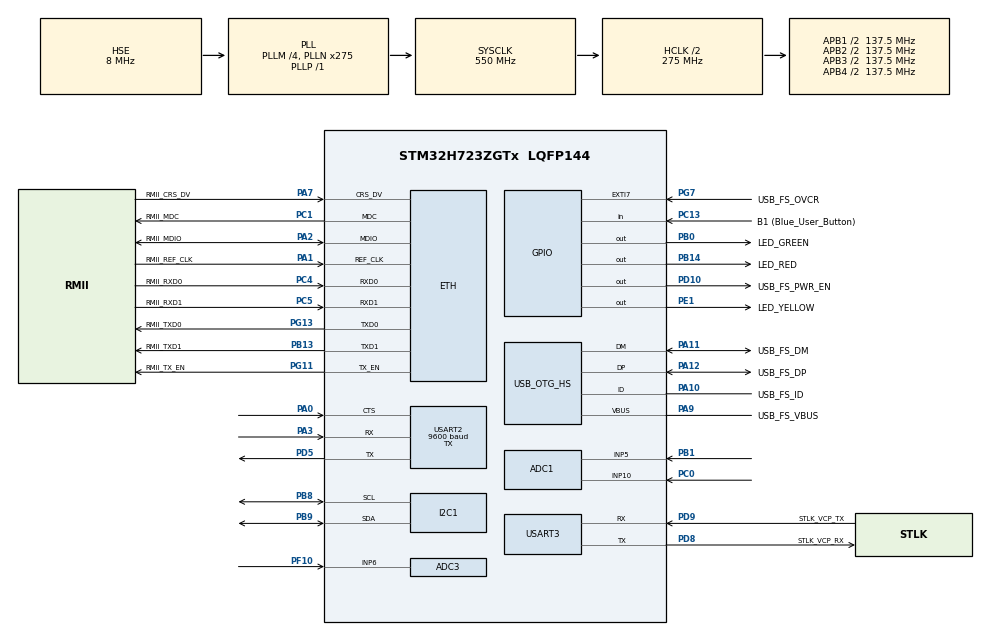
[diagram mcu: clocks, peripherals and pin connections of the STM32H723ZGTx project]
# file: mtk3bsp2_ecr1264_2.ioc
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ADC1.Channel-0\#ChannelRegularConversion=ADC_CHANNEL_5
ADC1.NbrOfConversionFlag=1
ADC1.OffsetNumber-0\#ChannelRegularConversion=ADC_OFFSET_NONE
ADC1.OffsetSignedSaturation-0\#ChannelRegularConversion=DISABLE
ADC1.Rank-0\#ChannelRegularConversion=1
ADC1.SamplingTime-0\#ChannelRegularConversion=ADC_SAMPLETIME_1CYCLE_5
ADC1.master=1
ADC3.Channel-0\#ChannelRegularConversion=ADC_CHANNEL_6
ADC3.NbrOfConversionFlag=1
ADC3.OffsetNumber-0\#ChannelRegularConversion=ADC_OFFSET_NONE
ADC3.OffsetSign-0\#ChannelRegularConversion=ADC3_OFFSET_SIGN_NEGATIVE
ADC3.Rank-0\#ChannelRegularConversion=1
ADC3.SamplingTime-0\#ChannelRegularConversion=ADC3_SAMPLETIME_2CYCLES_5
ETH.MediaInterface=HAL_ETH_RMII_MODE
I2C1.Timing=0x60404E72
Mcu.Family=STM32H7
Mcu.Name=STM32H723ZGTx
Mcu.Package=LQFP144
NVIC.ADC3_IRQn=true\:10\:0\:true\:false\:true\:true\:true\:true
NVIC.ADC_IRQn=true\:10\:0\:true\:false\:true\:true\:true\:true
NVIC.I2C1_ER_IRQn=true\:10\:0\:true\:false\:true\:true\:true\:true
NVIC.I2C1_EV_IRQn=true\:10\:0\:true\:false\:true\:true\:true\:true
NVIC.PriorityGroup=NVIC_PRIORITYGROUP_4
PA0.Mode=CTS_Only
PA0.Signal=USART2_CTS
PA1.GPIO_Label=RMII_REF_CLK
PA1.Mode=RMII
PA1.Signal=ETH_REF_CLK
PA10.GPIO_Label=USB_FS_ID
PA10.Mode=OTG/Dual-Role-Device-FS
PA10.Signal=USB_OTG_HS_ID
PA11.GPIO_Label=USB_FS_DM
PA11.Mode=OTG/Dual-Role-Device-FS
PA11.Signal=USB_OTG_HS_DM
PA12.GPIO_Label=USB_FS_DP
PA12.Mode=OTG/Dual-Role-Device-FS
PA12.Signal=USB_OTG_HS_DP
PA13(JTMS/SWDIO).GPIO_Label=SWDIO
PA13(JTMS/SWDIO).Mode=Trace_Asynchronous_SW
PA13(JTMS/SWDIO).Signal=DEBUG_JTMS-SWDIO
PA14(JTCK/SWCLK).GPIO_Label=SWCLK
PA14(JTCK/SWCLK).Mode=Trace_Asynchronous_SW
PA14(JTCK/SWCLK).Signal=DEBUG_JTCK-SWCLK
PA2.GPIO_Label=RMII_MDIO
PA2.Mode=RMII
PA2.Signal=ETH_MDIO
PA3.Mode=Asynchronous
PA3.Signal=USART2_RX
PA7.GPIO_Label=RMII_CRS_DV
PA7.Mode=RMII
PA7.Signal=ETH_CRS_DV
PA9.GPIO_Label=USB_FS_VBUS
PA9.Mode=Activate_VBUS_FS
PA9.Signal=USB_OTG_HS_VBUS
PB0.GPIO_Label=LED_GREEN
PB0.Signal=GPIO_Output
PB1.Signal=ADCx_INP5
PB13.GPIO_Label=RMII_TXD1
PB13.Mode=RMII
PB13.Signal=ETH_TXD1
PB14.GPIO_Label=LED_RED
PB14.Signal=GPIO_Output
PB3(JTDO/TRACESWO).GPIO_Label=SWO
PB3(JTDO/TRACESWO).Mode=Trace_Asynchronous_SW
PB3(JTDO/TRACESWO).Signal=DEBUG_JTDO-SWO
PB8.Mode=I2C
PB8.Signal=I2C1_SCL
PB9.Mode=I2C
PB9.Signal=I2C1_SDA
PC0.Signal=ADCx_INP10
PC1.GPIO_Label=RMII_MDC
PC1.Mode=RMII
PC1.Signal=ETH_MDC
PC13.GPIO_Label=B1 (Blue_User_Button)
PC13.Signal=GPIO_Input
PC14-OSC32_IN.Mode=LSE-External-Oscillator
PC14-OSC32_IN.Signal=RCC_OSC32_IN
PC15-OSC32_OUT.Mode=LSE-External-Oscillator
PC15-OSC32_OUT.Signal=RCC_OSC32_OUT
PC4.GPIO_Label=RMII_RXD0
PC4.Mode=RMII
PC4.Signal=ETH_RXD0
PC5.GPIO_Label=RMII_RXD1
PC5.Mode=RMII
PC5.Signal=ETH_RXD1
PD10.GPIO_Label=USB_FS_PWR_EN
PD10.Signal=GPIO_Output
PD5.Mode=Asynchronous
PD5.Signal=USART2_TX
PD8.GPIO_Label=STLK_VCP_RX
PD8.Mode=Asynchronous
PD8.Signal=USART3_TX
PD9.GPIO_Label=STLK_VCP_TX
PD9.Mode=Asynchronous
PD9.Signal=USART3_RX
PE1.GPIO_Label=LED_YELLOW
PE1.Signal=GPIO_Output
PF10.Mode=IN6-Single-Ended
PF10.Signal=ADC3_INP6
PG11.GPIO_Label=RMII_TX_EN
PG11.Mode=RMII
PG11.Signal=ETH_TX_EN
PG13.GPIO_Label=RMII_TXD0
PG13.Mode=RMII
PG13.Signal=ETH_TXD0
PG7.GPIO_Label=USB_FS_OVCR
PG7.Signal=GPXTI7
PH0-OSC_IN.GPIO_Label=MCO
PH0-OSC_IN.Mode=HSE-External-Clock-Source
PH0-OSC_IN.Signal=RCC_OSC_IN
PH1-OSC_OUT.Signal=RCC_OSC_OUT
ProjectManager.HeapSize=0x200
ProjectManager.StackSize=0x400
ProjectManager.TargetToolchain=STM32CubeIDE
RCC.ADCFreq_Value=96000000
RCC.APB1Freq_Value=137500000
RCC.APB2Freq_Value=137500000
RCC.APB3Freq_Value=137500000
RCC.APB4Freq_Value=137500000
RCC.CortexFreq_Value=550000000
RCC.D1PPRE=RCC_APB3_DIV2
RCC.D2PPRE1=RCC_APB1_DIV2
RCC.D2PPRE2=RCC_APB2_DIV2
RCC.D3PPRE=RCC_APB4_DIV2
RCC.DIVM1=4
RCC.DIVM2=1
RCC.DIVN1=275
RCC.DIVN2=24
RCC.DIVP1=1
RCC.DIVQ1=4
RCC.HCLKFreq_Value=275000000
RCC.HPRE=RCC_HCLK_DIV2
RCC.HSE_VALUE=8000000
RCC.PLLFRACN=0
RCC.PLLSourceVirtual=RCC_PLLSOURCE_HSE
RCC.SYSCLKFreq_VALUE=550000000
RCC.SYSCLKSource=RCC_SYSCLKSOURCE_PLLCLK
RCC.USBCLockSelection=RCC_USBCLKSOURCE_HSI48
RCC.USBFreq_Value=48000000
SH.ADCx_INP10.0=ADC1_INP10,IN10-Single-Ended
SH.ADCx_INP5.0=ADC1_INP5,IN5-Single-Ended
USART2.BaudRate=9600
USART2.Mode=MODE_TX
USART2.VirtualMode-Asynchronous=VM_ASYNC
USART3.VirtualMode-Asynchronous=VM_ASYNC
board=NUCLEO-H723ZG

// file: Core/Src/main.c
/* USER CODE BEGIN Header */
/**
  ******************************************************************************
  * @file           : main.c
  * @brief          : Main program body
  ******************************************************************************
  * @attention
  *
  * Copyright (c) 2024 STMicroelectronics.
  * All rights reserved.
  *
  * This software is licensed under terms that can be found in the LICENSE file
  * in the root directory of this software component.
  * If no LICENSE file comes with this software, it is provided AS-IS.
  *
  ******************************************************************************
  */
/* USER CODE END Header */
#include "main.h"
#include "string.h"

#if defined ( __ICCARM__ ) /*!< IAR Compiler */
#pragma location=0x30000000
ETH_DMADescTypeDef  DMARxDscrTab[ETH_RX_DESC_CNT]; /* Ethernet Rx DMA Descriptors */
#pragma location=0x30000200
ETH_DMADescTypeDef  DMATxDscrTab[ETH_TX_DESC_CNT]; /* Ethernet Tx DMA Descriptors */

#elif defined ( __CC_ARM )  /* MDK ARM Compiler */

__attribute__((at(0x30000000))) ETH_DMADescTypeDef  DMARxDscrTab[ETH_RX_DESC_CNT]; /* Ethernet Rx DMA Descriptors */
__attribute__((at(0x30000200))) ETH_DMADescTypeDef  DMATxDscrTab[ETH_TX_DESC_CNT]; /* Ethernet Tx DMA Descriptors */

#elif defined ( __GNUC__ ) /* GNU Compiler */
ETH_DMADescTypeDef DMARxDscrTab[ETH_RX_DESC_CNT] __attribute__((section(".RxDecripSection"))); /* Ethernet Rx DMA Descriptors */
ETH_DMADescTypeDef DMATxDscrTab[ETH_TX_DESC_CNT] __attribute__((section(".TxDecripSection")));   /* Ethernet Tx DMA Descriptors */

#endif

ETH_TxPacketConfig TxConfig;

ADC_HandleTypeDef hadc1;
ADC_HandleTypeDef hadc3;

ETH_HandleTypeDef heth;

I2C_HandleTypeDef hi2c1;

UART_HandleTypeDef huart2;
UART_HandleTypeDef huart3;

void SystemClock_Config(void);
void PeriphCommonClock_Config(void);
static void MX_GPIO_Init(void);
static void MX_ETH_Init(void);
static void MX_USART3_UART_Init(void);
static void MX_USB_OTG_HS_USB_Init(void);
static void MX_ADC1_Init(void);
static void MX_ADC3_Init(void);
static void MX_I2C1_Init(void);
static void MX_USART2_UART_Init(void);

/* USER CODE BEGIN 0 */
void knl_start_mtkernel(void);

uint8_t tiData[] = {
		0x00, 0xfe, 0xfe, 0xfe, 0xfe, 0xfe, 0xfe, 0xfe, 0xfe, 0xfe, 0xfe, 0xfe, 0xfe, 0xfe, 0xfe, 0xfe,
		0xfe, 0xfe, 0xfe, 0xfe, 0xfe, 0xfe, 0xfe, 0xfe, 0xfe, 0xfe, 0x7e, 0x7e, 0x7e, 0x7e, 0x7e, 0x7e,
		0x7e, 0x7e, 0x7e, 0x7e, 0x7e, 0x7e, 0x7e, 0x7e, 0x7e, 0xfe, 0xfe, 0xfe, 0xfe, 0xfe, 0xfe, 0xfe,
		0xfe, 0xfe, 0xfe, 0xfe, 0xfe, 0xfe, 0xfe, 0xfe, 0x7e, 0x7e, 0x7e, 0x3e, 0x3e, 0x3e, 0x3e, 0x3e,
		0x7e, 0x3e, 0x7e, 0x7e, 0x7e, 0xfe, 0xfe, 0xfe, 0xfe, 0xfe, 0xfe, 0xfe, 0xfe, 0xfe, 0xfe, 0xfe,
		0xfe, 0xfe, 0xfe, 0x3e, 0x1e, 0x3e, 0x3e, 0xfe, 0x5e, 0x0e, 0x1e, 0x0e, 0xfe, 0xfe, 0xfe, 0xfe,
		0xfe, 0xfe, 0xfe, 0xfe, 0xfe, 0xfe, 0xfe, 0xfe, 0xfe, 0xfe, 0xfe, 0xfe, 0xfe, 0xfe, 0xfe, 0xfe,
		0xfe, 0xfe, 0xfe, 0xfe, 0xfe, 0xfe, 0xfe, 0xfe, 0xfe, 0xfe, 0xfe, 0xfe, 0xfe, 0xfe, 0xfe, 0x00,
		0x00, 0xff, 0xff, 0xff, 0xff, 0xff, 0xff, 0xff, 0xff, 0xff, 0xff, 0xff, 0xff, 0xff, 0xff, 0xff,
		0xff, 0xff, 0xff, 0xff, 0xff, 0xff, 0xff, 0xff, 0xff, 0xff, 0xfc, 0xf8, 0xfc, 0xf8, 0xfc, 0xf8,
		0xfc, 0xf8, 0xfc, 0xf8, 0xfc, 0xf8, 0xfc, 0xf8, 0xfc, 0xff, 0xff, 0xff, 0xff, 0xff, 0xff, 0xff,
		0xff, 0xff, 0x1f, 0x0f, 0x03, 0x81, 0xf1, 0xf8, 0xfc, 0xfc, 0xfc, 0x3e, 0x00, 0x00, 0xd0, 0xfe,
		0xfc, 0xfe, 0xfc, 0xf8, 0xf0, 0xe0, 0x01, 0x03, 0x07, 0xff, 0xff, 0xff, 0xff, 0xff, 0x7f, 0x7f,
		0x47, 0x03, 0x41, 0x60, 0x70, 0x78, 0x71, 0x78, 0x51, 0x00, 0x00, 0x00, 0x71, 0x78, 0x71, 0x78,
		0x71, 0x78, 0x71, 0x7b, 0x7f, 0x7f, 0x7f, 0xff, 0xff, 0xff, 0xff, 0xff, 0xff, 0xff, 0xff, 0xff,
		0xff, 0xff, 0xff, 0xff, 0xff, 0xff, 0xff, 0xff, 0xff, 0xff, 0xff, 0xff, 0xff, 0xff, 0xff, 0x00,
		0x00, 0xff, 0xff, 0xff, 0xff, 0xff, 0xff, 0xff, 0xff, 0xff, 0xff, 0xff, 0xff, 0xff, 0xff, 0xff,
		0xff, 0xff, 0xff, 0xff, 0xff, 0xff, 0xff, 0xff, 0x57, 0x03, 0x07, 0x27, 0x7f, 0xff, 0x7f, 0xff,
		0x7f, 0xff, 0x7f, 0xff, 0x7f, 0xff, 0x7f, 0xff, 0x7f, 0xff, 0x7f, 0xff, 0xff, 0xff, 0xff, 0xff,
		0xff, 0xfa, 0x40, 0x00, 0x05, 0x3f, 0x7f, 0x7f, 0x7f, 0x0f, 0x05, 0x80, 0xd0, 0xfa, 0xff, 0xff,
		0xff, 0xff, 0x7f, 0x3f, 0x1f, 0x0f, 0x01, 0x80, 0xd0, 0xfa, 0xff, 0xff, 0xff, 0xff, 0xfc, 0xfc,
		0xfc, 0xfc, 0xfc, 0xfc, 0x7c, 0x28, 0x00, 0x00, 0x50, 0xfc, 0xfc, 0x20, 0x00, 0x00, 0x54, 0xfc,
		0xfc, 0xfc, 0xfc, 0x7c, 0x7c, 0x7c, 0x7d, 0xff, 0xff, 0xff, 0xff, 0xff, 0xff, 0xff, 0xff, 0xff,
		0xff, 0xff, 0xff, 0xff, 0xff, 0xff, 0xff, 0xff, 0xff, 0xff, 0xff, 0xff, 0xff, 0xff, 0xff, 0x00,
		0x00, 0xff, 0xff, 0xff, 0xff, 0xff, 0xff, 0xff, 0xff, 0xff, 0xff, 0xff, 0xff, 0xff, 0xff, 0xff,
		0xff, 0xff, 0xff, 0xff, 0xff, 0xff, 0xff, 0xff, 0xff, 0xfe, 0xfc, 0xf8, 0xfc, 0xf8, 0xfc, 0xf8,
		0xfc, 0xf8, 0xfc, 0xf8, 0xfc, 0xf8, 0xfc, 0xf8, 0xfc, 0xf8, 0xfc, 0xfa, 0xff, 0xff, 0xff, 0xff,
		0xff, 0xff, 0xff, 0xfe, 0xfc, 0xfc, 0xfc, 0xf8, 0xfc, 0xfe, 0xff, 0xff, 0xff, 0xff, 0xfd, 0xf8,
		0xf1, 0xf0, 0xf0, 0xf8, 0xfc, 0xfe, 0xff, 0xff, 0xff, 0xff, 0xff, 0xff, 0xff, 0xfb, 0xd7, 0xe3,
		0xc1, 0xe3, 0xf1, 0xf0, 0xf0, 0xf8, 0xfc, 0xfe, 0xff, 0xff, 0xff, 0xf8, 0xf0, 0xe0, 0xf1, 0xe3,
		0xf3, 0xe3, 0xf1, 0xe0, 0xf0, 0xf8, 0xff, 0xff, 0xff, 0xff, 0xff, 0xff, 0xff, 0xff, 0xff, 0xff,
		0xff, 0xff, 0xff, 0xff, 0xff, 0xff, 0xff, 0xff, 0xff, 0xff, 0xff, 0xff, 0xff, 0xff, 0xff, 0x00,
		0x00, 0xff, 0xff, 0xff, 0xff, 0xff, 0xff, 0xff, 0xff, 0xff, 0xff, 0xff, 0xff, 0xcf, 0xc7, 0x0f,
		0x1f, 0x3f, 0xff, 0xe7, 0xc7, 0xe7, 0x47, 0x27, 0x07, 0x27, 0x47, 0x27, 0x07, 0x07, 0x87, 0xc7,
		0xc7, 0xef, 0xff, 0xff, 0xff, 0xff, 0xff, 0xff, 0x7f, 0x7f, 0x1f, 0x1f, 0x07, 0xcf, 0xdf, 0xff,
		0x1f, 0x9f, 0x1f, 0x9f, 0x1f, 0x9f, 0x1f, 0x9f, 0x1f, 0x9f, 0x1f, 0xff, 0xff, 0xff, 0xff, 0xff,
		0x5f, 0x8f, 0x1f, 0x9f, 0x1f, 0x8f, 0x1f, 0x9f, 0x1f, 0x8f, 0x1f, 0x9f, 0x1f, 0x8f, 0x1f, 0x9f,
		0x1f, 0x0f, 0x1f, 0x1f, 0x1f, 0x8f, 0x1f, 0xff, 0xff, 0xff, 0xff, 0xff, 0xff, 0x3f, 0x17, 0x03,
		0x47, 0xe7, 0x17, 0x1f, 0x1f, 0x7f, 0xff, 0x2f, 0x07, 0x0f, 0x57, 0x7f, 0x7f, 0x3f, 0x1f, 0x3f,
		0x7f, 0xff, 0xff, 0xff, 0xff, 0xff, 0xff, 0xff, 0xff, 0xff, 0xff, 0xff, 0xff, 0xff, 0xff, 0x00,
		0x00, 0xff, 0xff, 0xff, 0xff, 0xff, 0xff, 0xff, 0xff, 0xff, 0xff, 0xff, 0x1f, 0x9f, 0x1f, 0x1f,
		0x1f, 0x1f, 0xff, 0x21, 0x01, 0x01, 0x91, 0x99, 0x91, 0x00, 0x00, 0x80, 0x90, 0x88, 0x91, 0x01,
		0x01, 0x01, 0xff, 0xff, 0xff, 0xff, 0x7d, 0x38, 0x18, 0x18, 0x14, 0x06, 0x41, 0xe0, 0xf1, 0xe3,
		0xc7, 0xc7, 0xc7, 0xe7, 0xc7, 0xc7, 0x47, 0x07, 0x07, 0xc7, 0xc7, 0xe7, 0xc7, 0xef, 0xff, 0xff,
		0xff, 0xff, 0xff, 0xff, 0x07, 0x03, 0x47, 0xe3, 0xe7, 0xe3, 0xe7, 0xa3, 0x07, 0x03, 0x57, 0xff,
		0xff, 0x00, 0x00, 0x00, 0x55, 0xff, 0xff, 0xff, 0xff, 0xff, 0xf4, 0xf8, 0x00, 0x08, 0x44, 0x68,
		0x44, 0x48, 0x44, 0x0c, 0x04, 0xa8, 0xfd, 0xe0, 0x40, 0x00, 0x14, 0x8e, 0x9c, 0x8e, 0x97, 0x83,
		0xc3, 0xe3, 0xff, 0xff, 0xff, 0xff, 0xff, 0xff, 0xff, 0xff, 0xff, 0xff, 0xff, 0xff, 0xff, 0x00,
		0x00, 0xff, 0xff, 0xff, 0xff, 0xff, 0xff, 0xff, 0xff, 0xff, 0xff, 0x7f, 0x7f, 0x3f, 0x15, 0x00,
		0x00, 0x00, 0x3f, 0x20, 0x40, 0x00, 0x7c, 0x78, 0x7c, 0x40, 0x40, 0x78, 0x7c, 0x08, 0x0c, 0x00,
		0x40, 0x60, 0x7f, 0xff, 0xff, 0xff, 0xfc, 0xfc, 0xfc, 0xfa, 0x00, 0x00, 0x55, 0xff, 0xff, 0xff,
		0xff, 0xff, 0xff, 0xff, 0x7f, 0xff, 0x55, 0x00, 0x00, 0xfb, 0xff, 0xff, 0xff, 0xff, 0xff, 0xff,
		0xff, 0xff, 0xff, 0xff, 0xc0, 0xc0, 0xd1, 0xf1, 0xf1, 0xf1, 0xf1, 0xf0, 0xf0, 0xe0, 0x75, 0x7f,
		0x7f, 0x00, 0x00, 0x00, 0x55, 0xff, 0xff, 0xff, 0xff, 0xff, 0xff, 0xff, 0x00, 0x00, 0x44, 0xe6,
		0xc4, 0xe2, 0x44, 0x00, 0x00, 0xaa, 0xff, 0x20, 0x00, 0x00, 0x51, 0xf3, 0x71, 0xf1, 0x71, 0x18,
		0x19, 0x3f, 0xff, 0xff, 0xff, 0xff, 0xff, 0xff, 0xff, 0xff, 0xff, 0xff, 0xff, 0xff, 0xff, 0x00,
		0x00, 0x7f, 0x7f, 0x7f, 0x7f, 0x7f, 0x7f, 0x7f, 0x7f, 0x7f, 0x7f, 0x7e, 0x7c, 0x7c, 0x7e, 0x7e,
		0x7f, 0x7e, 0x7e, 0x7e, 0x7c, 0x7c, 0x7c, 0x7c, 0x7c, 0x7c, 0x7c, 0x7c, 0x7c, 0x7c, 0x7c, 0x7c,
		0x7c, 0x7c, 0x7c, 0x7e, 0x7f, 0x7f, 0x7f, 0x7f, 0x7f, 0x7f, 0x7c, 0x78, 0x7d, 0x7f, 0x7f, 0x7f,
		0x7f, 0x7f, 0x7f, 0x7e, 0x7c, 0x78, 0x7c, 0x78, 0x7c, 0x7f, 0x7f, 0x7f, 0x7f, 0x7f, 0x7f, 0x7f,
		0x7f, 0x7f, 0x7f, 0x7f, 0x7f, 0x7f, 0x7f, 0x7f, 0x7f, 0x7f, 0x7f, 0x7f, 0x7f, 0x7f, 0x7c, 0x7c,
		0x7c, 0x78, 0x7c, 0x7c, 0x7f, 0x7f, 0x7f, 0x7f, 0x7f, 0x7f, 0x7f, 0x7f, 0x7c, 0x78, 0x7d, 0x7f,
		0x7f, 0x78, 0x7c, 0x78, 0x7c, 0x7e, 0x7f, 0x7e, 0x7c, 0x78, 0x7c, 0x7c, 0x7c, 0x78, 0x7c, 0x7c,
		0x7c, 0x7e, 0x7f, 0x7f, 0x7f, 0x7f, 0x7f, 0x7f, 0x7f, 0x7f, 0x7f, 0x7f, 0x7f, 0x7f, 0x7f, 0x00
};

/* USER CODE END 0 */

int main(void)
{

  /* MCU Configuration--------------------------------------------------------*/

  /* Reset of all peripherals, Initializes the Flash interface and the Systick. */
  HAL_Init();

  /* Configure the system clock */
  SystemClock_Config();

/* Configure the peripherals common clocks */
  PeriphCommonClock_Config();

  /* Initialize all configured peripherals */
  MX_GPIO_Init();
  MX_ETH_Init();
  MX_USART3_UART_Init();
  MX_USB_OTG_HS_USB_Init();
  MX_ADC1_Init();
  MX_ADC3_Init();
  MX_I2C1_Init();
  MX_USART2_UART_Init();
  /* USER CODE BEGIN 2 */

  {
	  uint8_t vramClearCommand[] = "ER\r";
	  uint8_t repaintCommand[] = "DP\r";
	  uint8_t tiCommand[2 + 1024 + 1];

	  memcpy(tiCommand, (uint8_t*)"TI", 2);
	  memcpy(tiCommand + 2, tiData, 1024);
	  memcpy(tiCommand + 2 + 1024, (uint8_t*)"\r", 1);

	  // リセット後、安定するのに1秒以上待つ必要がある
      HAL_Delay(1000);

	  // VRAM クリア
      if (HAL_UART_Transmit(&huart2, vramClearCommand, sizeof(vramClearCommand), HAL_MAX_DELAY) != HAL_OK)
      {
        Error_Handler();
      }

      // 画像転送
      if (HAL_UART_Transmit(&huart2, tiCommand, sizeof(tiCommand), HAL_MAX_DELAY) != HAL_OK)
      {
        Error_Handler();
      }

	  // 表示書き換え
      if (HAL_UART_Transmit(&huart2, repaintCommand, sizeof(repaintCommand), HAL_MAX_DELAY) != HAL_OK)
      {
        Error_Handler();
      }
  }
  knl_start_mtkernel();
  /* USER CODE END 2 */

  /* Infinite loop */
  while (1)
  {

  }
}

void SystemClock_Config(void)
{
  RCC_OscInitTypeDef RCC_OscInitStruct = {0};
  RCC_ClkInitTypeDef RCC_ClkInitStruct = {0};

  /** Supply configuration update enable
  */
  HAL_PWREx_ConfigSupply(PWR_LDO_SUPPLY);

  /** Configure the main internal regulator output voltage
  */
  __HAL_PWR_VOLTAGESCALING_CONFIG(PWR_REGULATOR_VOLTAGE_SCALE0);

  while(!__HAL_PWR_GET_FLAG(PWR_FLAG_VOSRDY)) {}

  /** Initializes the RCC Oscillators according to the specified parameters
  * in the RCC_OscInitTypeDef structure.
  */
  RCC_OscInitStruct.OscillatorType = RCC_OSCILLATORTYPE_HSI48|RCC_OSCILLATORTYPE_HSE;
  RCC_OscInitStruct.HSEState = RCC_HSE_BYPASS;
  RCC_OscInitStruct.HSI48State = RCC_HSI48_ON;
  RCC_OscInitStruct.PLL.PLLState = RCC_PLL_ON;
  RCC_OscInitStruct.PLL.PLLSource = RCC_PLLSOURCE_HSE;
  RCC_OscInitStruct.PLL.PLLM = 4;
  RCC_OscInitStruct.PLL.PLLN = 275;
  RCC_OscInitStruct.PLL.PLLP = 1;
  RCC_OscInitStruct.PLL.PLLQ = 4;
  RCC_OscInitStruct.PLL.PLLR = 2;
  RCC_OscInitStruct.PLL.PLLRGE = RCC_PLL1VCIRANGE_1;
  RCC_OscInitStruct.PLL.PLLVCOSEL = RCC_PLL1VCOWIDE;
  RCC_OscInitStruct.PLL.PLLFRACN = 0;
  if (HAL_RCC_OscConfig(&RCC_OscInitStruct) != HAL_OK)
  {
    Error_Handler();
  }

  /** Initializes the CPU, AHB and APB buses clocks
  */
  RCC_ClkInitStruct.ClockType = RCC_CLOCKTYPE_HCLK|RCC_CLOCKTYPE_SYSCLK
                              |RCC_CLOCKTYPE_PCLK1|RCC_CLOCKTYPE_PCLK2
                              |RCC_CLOCKTYPE_D3PCLK1|RCC_CLOCKTYPE_D1PCLK1;
  RCC_ClkInitStruct.SYSCLKSource = RCC_SYSCLKSOURCE_PLLCLK;
  RCC_ClkInitStruct.SYSCLKDivider = RCC_SYSCLK_DIV1;
  RCC_ClkInitStruct.AHBCLKDivider = RCC_HCLK_DIV2;
  RCC_ClkInitStruct.APB3CLKDivider = RCC_APB3_DIV2;
  RCC_ClkInitStruct.APB1CLKDivider = RCC_APB1_DIV2;
  RCC_ClkInitStruct.APB2CLKDivider = RCC_APB2_DIV2;
  RCC_ClkInitStruct.APB4CLKDivider = RCC_APB4_DIV2;

  if (HAL_RCC_ClockConfig(&RCC_ClkInitStruct, FLASH_LATENCY_3) != HAL_OK)
  {
    Error_Handler();
  }
}

void PeriphCommonClock_Config(void)
{
  RCC_PeriphCLKInitTypeDef PeriphClkInitStruct = {0};

  /** Initializes the peripherals clock
  */
  PeriphClkInitStruct.PeriphClockSelection = RCC_PERIPHCLK_ADC;
  PeriphClkInitStruct.PLL2.PLL2M = 1;
  PeriphClkInitStruct.PLL2.PLL2N = 24;
  PeriphClkInitStruct.PLL2.PLL2P = 2;
  PeriphClkInitStruct.PLL2.PLL2Q = 2;
  PeriphClkInitStruct.PLL2.PLL2R = 2;
  PeriphClkInitStruct.PLL2.PLL2RGE = RCC_PLL2VCIRANGE_3;
  PeriphClkInitStruct.PLL2.PLL2VCOSEL = RCC_PLL2VCOWIDE;
  PeriphClkInitStruct.PLL2.PLL2FRACN = 0;
  PeriphClkInitStruct.AdcClockSelection = RCC_ADCCLKSOURCE_PLL2;
  if (HAL_RCCEx_PeriphCLKConfig(&PeriphClkInitStruct) != HAL_OK)
  {
    Error_Handler();
  }
}

static void MX_ADC1_Init(void)
{

  ADC_MultiModeTypeDef multimode = {0};
  ADC_ChannelConfTypeDef sConfig = {0};

  /** Common config
  */
  hadc1.Instance = ADC1;
  hadc1.Init.ClockPrescaler = ADC_CLOCK_ASYNC_DIV1;
  hadc1.Init.Resolution = ADC_RESOLUTION_16B;
  hadc1.Init.ScanConvMode = ADC_SCAN_DISABLE;
  hadc1.Init.EOCSelection = ADC_EOC_SINGLE_CONV;
  hadc1.Init.LowPowerAutoWait = DISABLE;
  hadc1.Init.ContinuousConvMode = DISABLE;
  hadc1.Init.NbrOfConversion = 1;
  hadc1.Init.DiscontinuousConvMode = DISABLE;
  hadc1.Init.ExternalTrigConv = ADC_SOFTWARE_START;
  hadc1.Init.ExternalTrigConvEdge = ADC_EXTERNALTRIGCONVEDGE_NONE;
  hadc1.Init.ConversionDataManagement = ADC_CONVERSIONDATA_DR;
  hadc1.Init.Overrun = ADC_OVR_DATA_PRESERVED;
  hadc1.Init.LeftBitShift = ADC_LEFTBITSHIFT_NONE;
  hadc1.Init.OversamplingMode = DISABLE;
  if (HAL_ADC_Init(&hadc1) != HAL_OK)
  {
    Error_Handler();
  }

  /** Configure the ADC multi-mode
  */
  multimode.Mode = ADC_MODE_INDEPENDENT;
  if (HAL_ADCEx_MultiModeConfigChannel(&hadc1, &multimode) != HAL_OK)
  {
    Error_Handler();
  }

  /** Configure Regular Channel
  */
  sConfig.Channel = ADC_CHANNEL_5;
  sConfig.Rank = ADC_REGULAR_RANK_1;
  sConfig.SamplingTime = ADC_SAMPLETIME_1CYCLE_5;
  sConfig.SingleDiff = ADC_SINGLE_ENDED;
  sConfig.OffsetNumber = ADC_OFFSET_NONE;
  sConfig.Offset = 0;
  sConfig.OffsetSignedSaturation = DISABLE;
  if (HAL_ADC_ConfigChannel(&hadc1, &sConfig) != HAL_OK)
  {
    Error_Handler();
  }

}

static void MX_ADC3_Init(void)
{

  ADC_ChannelConfTypeDef sConfig = {0};

  /** Common config
  */
  hadc3.Instance = ADC3;
  hadc3.Init.ClockPrescaler = ADC_CLOCK_ASYNC_DIV1;
  hadc3.Init.Resolution = ADC_RESOLUTION_12B;
  hadc3.Init.DataAlign = ADC3_DATAALIGN_RIGHT;
  hadc3.Init.ScanConvMode = ADC_SCAN_DISABLE;
  hadc3.Init.EOCSelection = ADC_EOC_SINGLE_CONV;
  hadc3.Init.LowPowerAutoWait = DISABLE;
  hadc3.Init.ContinuousConvMode = DISABLE;
  hadc3.Init.NbrOfConversion = 1;
  hadc3.Init.DiscontinuousConvMode = DISABLE;
  hadc3.Init.ExternalTrigConv = ADC_SOFTWARE_START;
  hadc3.Init.ExternalTrigConvEdge = ADC_EXTERNALTRIGCONVEDGE_NONE;
  hadc3.Init.DMAContinuousRequests = DISABLE;
  hadc3.Init.SamplingMode = ADC_SAMPLING_MODE_NORMAL;
  hadc3.Init.ConversionDataManagement = ADC_CONVERSIONDATA_DR;
  hadc3.Init.Overrun = ADC_OVR_DATA_PRESERVED;
  hadc3.Init.LeftBitShift = ADC_LEFTBITSHIFT_NONE;
  hadc3.Init.OversamplingMode = DISABLE;
  if (HAL_ADC_Init(&hadc3) != HAL_OK)
  {
    Error_Handler();
  }

  /** Configure Regular Channel
  */
  sConfig.Channel = ADC_CHANNEL_6;
  sConfig.Rank = ADC_REGULAR_RANK_1;
  sConfig.SamplingTime = ADC3_SAMPLETIME_2CYCLES_5;
  sConfig.SingleDiff = ADC_SINGLE_ENDED;
  sConfig.OffsetNumber = ADC_OFFSET_NONE;
  sConfig.Offset = 0;
  sConfig.OffsetSign = ADC3_OFFSET_SIGN_NEGATIVE;
  if (HAL_ADC_ConfigChannel(&hadc3, &sConfig) != HAL_OK)
  {
    Error_Handler();
  }

}

static void MX_ETH_Init(void)
{

   static uint8_t MACAddr[6];

  heth.Instance = ETH;
  MACAddr[0] = 0x00;
  MACAddr[1] = 0x80;
  MACAddr[2] = 0xE1;
  MACAddr[3] = 0x00;
  MACAddr[4] = 0x00;
  MACAddr[5] = 0x00;
  heth.Init.MACAddr = &MACAddr[0];
  heth.Init.MediaInterface = HAL_ETH_RMII_MODE;
  heth.Init.TxDesc = DMATxDscrTab;
  heth.Init.RxDesc = DMARxDscrTab;
  heth.Init.RxBuffLen = 1524;

  if (HAL_ETH_Init(&heth) != HAL_OK)
  {
    Error_Handler();
  }

  memset(&TxConfig, 0 , sizeof(ETH_TxPacketConfig));
  TxConfig.Attributes = ETH_TX_PACKETS_FEATURES_CSUM | ETH_TX_PACKETS_FEATURES_CRCPAD;
  TxConfig.ChecksumCtrl = ETH_CHECKSUM_IPHDR_PAYLOAD_INSERT_PHDR_CALC;
  TxConfig.CRCPadCtrl = ETH_CRC_PAD_INSERT;

}

static void MX_I2C1_Init(void)
{

  hi2c1.Instance = I2C1;
  hi2c1.Init.Timing = 0x60404E72;
  hi2c1.Init.OwnAddress1 = 0;
  hi2c1.Init.AddressingMode = I2C_ADDRESSINGMODE_7BIT;
  hi2c1.Init.DualAddressMode = I2C_DUALADDRESS_DISABLE;
  hi2c1.Init.OwnAddress2 = 0;
  hi2c1.Init.OwnAddress2Masks = I2C_OA2_NOMASK;
  hi2c1.Init.GeneralCallMode = I2C_GENERALCALL_DISABLE;
  hi2c1.Init.NoStretchMode = I2C_NOSTRETCH_DISABLE;
  if (HAL_I2C_Init(&hi2c1) != HAL_OK)
  {
    Error_Handler();
  }

  /** Configure Analogue filter
  */
  if (HAL_I2CEx_ConfigAnalogFilter(&hi2c1, I2C_ANALOGFILTER_ENABLE) != HAL_OK)
  {
    Error_Handler();
  }

  /** Configure Digital filter
  */
  if (HAL_I2CEx_ConfigDigitalFilter(&hi2c1, 0) != HAL_OK)
  {
    Error_Handler();
  }

}

static void MX_USART2_UART_Init(void)
{

  huart2.Instance = USART2;
  huart2.Init.BaudRate = 9600;
  huart2.Init.WordLength = UART_WORDLENGTH_8B;
  huart2.Init.StopBits = UART_STOPBITS_1;
  huart2.Init.Parity = UART_PARITY_NONE;
  huart2.Init.Mode = UART_MODE_TX;
  huart2.Init.HwFlowCtl = UART_HWCONTROL_CTS;
  huart2.Init.OverSampling = UART_OVERSAMPLING_16;
  huart2.Init.OneBitSampling = UART_ONE_BIT_SAMPLE_DISABLE;
  huart2.Init.ClockPrescaler = UART_PRESCALER_DIV1;
  huart2.AdvancedInit.AdvFeatureInit = UART_ADVFEATURE_NO_INIT;
  if (HAL_UART_Init(&huart2) != HAL_OK)
  {
    Error_Handler();
  }
  if (HAL_UARTEx_SetTxFifoThreshold(&huart2, UART_TXFIFO_THRESHOLD_1_8) != HAL_OK)
  {
    Error_Handler();
  }
  if (HAL_UARTEx_SetRxFifoThreshold(&huart2, UART_RXFIFO_THRESHOLD_1_8) != HAL_OK)
  {
    Error_Handler();
  }
  if (HAL_UARTEx_DisableFifoMode(&huart2) != HAL_OK)
  {
    Error_Handler();
  }

}

static void MX_USART3_UART_Init(void)
{

  huart3.Instance = USART3;
  huart3.Init.BaudRate = 115200;
  huart3.Init.WordLength = UART_WORDLENGTH_8B;
  huart3.Init.StopBits = UART_STOPBITS_1;
  huart3.Init.Parity = UART_PARITY_NONE;
  huart3.Init.Mode = UART_MODE_TX_RX;
  huart3.Init.HwFlowCtl = UART_HWCONTROL_NONE;
  huart3.Init.OverSampling = UART_OVERSAMPLING_16;
  huart3.Init.OneBitSampling = UART_ONE_BIT_SAMPLE_DISABLE;
  huart3.Init.ClockPrescaler = UART_PRESCALER_DIV1;
  huart3.AdvancedInit.AdvFeatureInit = UART_ADVFEATURE_NO_INIT;
  if (HAL_UART_Init(&huart3) != HAL_OK)
  {
    Error_Handler();
  }
  if (HAL_UARTEx_SetTxFifoThreshold(&huart3, UART_TXFIFO_THRESHOLD_1_8) != HAL_OK)
  {
    Error_Handler();
  }
  if (HAL_UARTEx_SetRxFifoThreshold(&huart3, UART_RXFIFO_THRESHOLD_1_8) != HAL_OK)
  {
    Error_Handler();
  }
  if (HAL_UARTEx_DisableFifoMode(&huart3) != HAL_OK)
  {
    Error_Handler();
  }

}

static void MX_USB_OTG_HS_USB_Init(void)
{

}

static void MX_GPIO_Init(void)
{
  GPIO_InitTypeDef GPIO_InitStruct = {0};

  /* GPIO Ports Clock Enable */
  __HAL_RCC_GPIOC_CLK_ENABLE();
  __HAL_RCC_GPIOF_CLK_ENABLE();
  __HAL_RCC_GPIOH_CLK_ENABLE();
  __HAL_RCC_GPIOA_CLK_ENABLE();
  __HAL_RCC_GPIOB_CLK_ENABLE();
  __HAL_RCC_GPIOD_CLK_ENABLE();
  __HAL_RCC_GPIOG_CLK_ENABLE();
  __HAL_RCC_GPIOE_CLK_ENABLE();

  /*Configure GPIO pin Output Level */
  HAL_GPIO_WritePin(GPIOB, LED_GREEN_Pin|LED_RED_Pin, GPIO_PIN_RESET);

  /*Configure GPIO pin Output Level */
  HAL_GPIO_WritePin(USB_FS_PWR_EN_GPIO_Port, USB_FS_PWR_EN_Pin, GPIO_PIN_RESET);

  /*Configure GPIO pin Output Level */
  HAL_GPIO_WritePin(LED_YELLOW_GPIO_Port, LED_YELLOW_Pin, GPIO_PIN_RESET);

  /*Configure GPIO pin : B1_Pin */
  GPIO_InitStruct.Pin = B1_Pin;
  GPIO_InitStruct.Mode = GPIO_MODE_INPUT;
  GPIO_InitStruct.Pull = GPIO_NOPULL;
  HAL_GPIO_Init(B1_GPIO_Port, &GPIO_InitStruct);

  /*Configure GPIO pins : LED_GREEN_Pin LED_RED_Pin */
  GPIO_InitStruct.Pin = LED_GREEN_Pin|LED_RED_Pin;
  GPIO_InitStruct.Mode = GPIO_MODE_OUTPUT_PP;
  GPIO_InitStruct.Pull = GPIO_NOPULL;
  GPIO_InitStruct.Speed = GPIO_SPEED_FREQ_LOW;
  HAL_GPIO_Init(GPIOB, &GPIO_InitStruct);

  /*Configure GPIO pin : USB_FS_PWR_EN_Pin */
  GPIO_InitStruct.Pin = USB_FS_PWR_EN_Pin;
  GPIO_InitStruct.Mode = GPIO_MODE_OUTPUT_PP;
  GPIO_InitStruct.Pull = GPIO_NOPULL;
  GPIO_InitStruct.Speed = GPIO_SPEED_FREQ_LOW;
  HAL_GPIO_Init(USB_FS_PWR_EN_GPIO_Port, &GPIO_InitStruct);

  /*Configure GPIO pin : USB_FS_OVCR_Pin */
  GPIO_InitStruct.Pin = USB_FS_OVCR_Pin;
  GPIO_InitStruct.Mode = GPIO_MODE_IT_RISING;
  GPIO_InitStruct.Pull = GPIO_NOPULL;
  HAL_GPIO_Init(USB_FS_OVCR_GPIO_Port, &GPIO_InitStruct);

  /*Configure GPIO pin : USB_FS_VBUS_Pin */
  GPIO_InitStruct.Pin = USB_FS_VBUS_Pin;
  GPIO_InitStruct.Mode = GPIO_MODE_INPUT;
  GPIO_InitStruct.Pull = GPIO_NOPULL;
  HAL_GPIO_Init(USB_FS_VBUS_GPIO_Port, &GPIO_InitStruct);

  /*Configure GPIO pin : USB_FS_ID_Pin */
  GPIO_InitStruct.Pin = USB_FS_ID_Pin;
  GPIO_InitStruct.Mode = GPIO_MODE_AF_PP;
  GPIO_InitStruct.Pull = GPIO_NOPULL;
  GPIO_InitStruct.Speed = GPIO_SPEED_FREQ_LOW;
  GPIO_InitStruct.Alternate = GPIO_AF10_OTG1_HS;
  HAL_GPIO_Init(USB_FS_ID_GPIO_Port, &GPIO_InitStruct);

  /*Configure GPIO pin : LED_YELLOW_Pin */
  GPIO_InitStruct.Pin = LED_YELLOW_Pin;
  GPIO_InitStruct.Mode = GPIO_MODE_OUTPUT_PP;
  GPIO_InitStruct.Pull = GPIO_NOPULL;
  GPIO_InitStruct.Speed = GPIO_SPEED_FREQ_LOW;
  HAL_GPIO_Init(LED_YELLOW_GPIO_Port, &GPIO_InitStruct);

}

void Error_Handler(void)
{
  __disable_irq();
  while (1)
  {
  }
}
